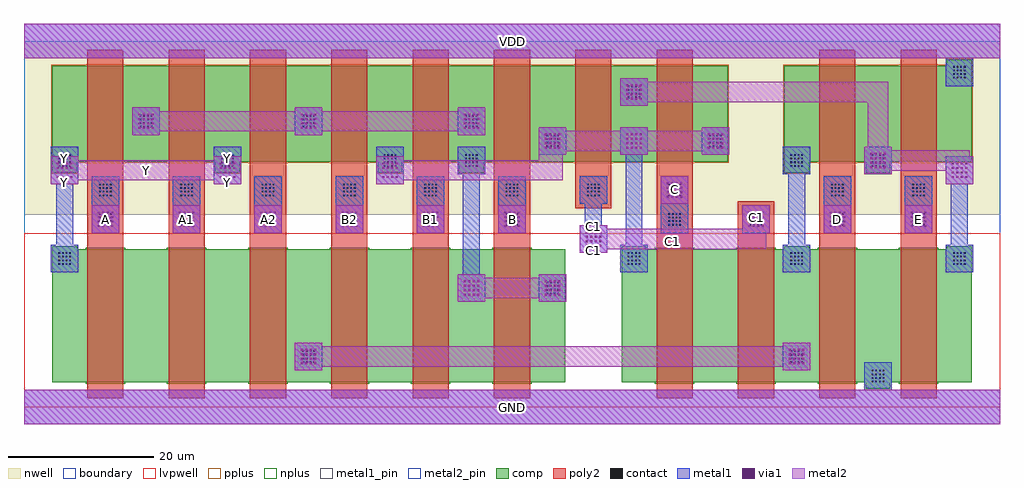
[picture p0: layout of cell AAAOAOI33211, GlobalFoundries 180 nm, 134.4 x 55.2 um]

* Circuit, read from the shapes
.subckt AAAOAOI33211 A A1 A2 B B1 B2 C C1 D E GND VDD Y
XM1 n1 A Y VSUBS nfet_03v3 w=18.3u l=5u
XM2 n2 A1 n1 VSUBS nfet_03v3 w=18.3u l=5u
XM3 n3 A2 n2 VSUBS nfet_03v3 w=18.3u l=5u
XM4 n4 B2 n3 VSUBS nfet_03v3 w=18.3u l=5u
XM5 n5 B1 n4 VSUBS nfet_03v3 w=18.3u l=5u
XM6 n6 B n5 VSUBS nfet_03v3 w=18.3u l=5u
XM7 n7 C n8 VSUBS nfet_03v3 w=18.3u l=5u
XM8 n3 C1 n7 VSUBS nfet_03v3 w=18.3u l=5u
XM9 GND D n3 VSUBS nfet_03v3 w=18.3u l=5u
XM10 n9 E GND VSUBS nfet_03v3 w=18.3u l=5u
XM11 n6 A Y n10 pfet_03v3 w=13.2u l=5u
XM12 Y A1 n6 n10 pfet_03v3 w=13.2u l=5u
XM13 n6 A2 Y n10 pfet_03v3 w=13.2u l=5u
XM14 n8 B2 n6 n10 pfet_03v3 w=13.2u l=5u
XM15 n6 B1 n8 n10 pfet_03v3 w=13.2u l=5u
XM16 n8 B n6 n10 pfet_03v3 w=13.2u l=5u
XM17 n9 C1 n8 n10 pfet_03v3 w=13.2u l=5u
XM18 n8 C n9 n10 pfet_03v3 w=13.2u l=5u
XM19 n9 D n3 n10 pfet_03v3 w=13.2u l=5u
XM20 VDD E n9 n10 pfet_03v3 w=13.2u l=5u
.ends

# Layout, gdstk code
import gdstk
lib = gdstk.Library(unit=1e-6, precision=1e-09)
def R(c, l, rs):  # rectangles x0, y0, x1, y1
    for r in rs: c.add(gdstk.rectangle(r[:2], r[2:], *l))
def A(c, l, x, y, w, h, nx, ny, dx, dy):  # array of equal rectangles
    R(c, l, [(x+i*dx, y+j*dy, x+i*dx+w, y+j*dy+h) for i in range(nx) for j in range(ny)])
boundary = (0, 0)
nwell = (21, 0)
comp = (22, 0)
poly2 = (30, 0)
pplus = (31, 0)
nplus = (32, 0)
contact = (33, 0)
metal1 = (34, 0)
metal1_pin = (34, 10)
via1 = (35, 0)
metal2 = (36, 0)
metal2_pin = (36, 10)
lvpwell = (204, 0)

aaaoaoi33211 = lib.new_cell('AAAOAOI33211')
R(aaaoaoi33211, boundary, [(0,0,134.4,50.4)])
R(aaaoaoi33211, nwell, [(0,26.45,134.4,50.4)])
A(aaaoaoi33211, comp, 82.3, 21.7, 3.4, 0.45, 3, 1, 22.4, 0)
A(aaaoaoi33211, comp, 3.9, 32.25, 3.4, 1.55, 3, 1, 22.4, 0)
R(aaaoaoi33211, comp, [(115.9,2.55,119.3,3.4), (3.9,3.4,74.5,21.7), (82.3,3.4,130.5,21.7), (3.9,21.7,7.3,22.15), (59.9,32.25,63.3,33.8), (104.7,32.25,108.1,33.8), (115.9,32.25,119.3,33.8), (3.9,33.8,96.9,47), (104.7,33.8,130.5,47), (127.1,47,130.5,47.8)])
A(aaaoaoi33211, poly2, 8.7, 1.2, 5, 48, 6, 1, 11.2, 0)
R(aaaoaoi33211, poly2, [(87.1,1.2,92.1,49.2), (98.3,1.2,103.3,28.35), (109.5,1.2,114.5,49.2), (120.7,1.2,125.7,49.2), (75.9,27.4,80.9,49.2)])
A(aaaoaoi33211, pplus, 3.74, 32.09, 3.72, 1.55, 3, 1, 22.4, 0)
A(aaaoaoi33211, pplus, 8.47, 33.57, 5.46, 0.07, 8, 2, 11.2, 13.59)
R(aaaoaoi33211, pplus, [(59.74,32.09,63.46,33.64), (104.54,32.09,108.26,33.64), (115.74,32.09,119.46,33.64), (109.27,33.57,114.73,33.64), (120.47,33.57,125.93,33.64), (3.74,33.64,97.06,47.16), (104.54,33.64,130.66,47.16), (109.27,47.16,114.73,47.23), (120.47,47.16,125.93,47.23), (126.94,47.16,130.66,47.96)])
A(aaaoaoi33211, nplus, 8.47, 3.17, 5.46, 0.21, 6, 2, 11.2, 18.55)
A(aaaoaoi33211, nplus, 86.87, 3.17, 5.46, 0.21, 4, 2, 11.2, 18.55)
A(aaaoaoi33211, nplus, 82.28, 21.72, 3.44, 0.45, 3, 1, 22.4, 0)
R(aaaoaoi33211, nplus, [(115.88,2.53,119.32,3.38), (3.88,3.38,74.52,21.72), (82.28,3.38,130.52,21.72), (3.88,21.72,7.32,22.17)])
A(aaaoaoi33211, contact, 116.74, 3.39, 0.22, 0.22, 4, 4, 0.5, 0.5)
A(aaaoaoi33211, contact, 38.34, 6.09, 0.22, 0.22, 4, 4, 0.5, 0.5)
A(aaaoaoi33211, contact, 105.54, 6.09, 0.22, 0.22, 4, 4, 0.5, 0.5)
A(aaaoaoi33211, contact, 71.94, 15.54, 0.22, 0.22, 4, 4, 0.5, 0.5)
A(aaaoaoi33211, contact, 4.74, 19.59, 0.22, 0.22, 4, 4, 0.5, 0.5)
A(aaaoaoi33211, contact, 83.14, 19.59, 0.22, 0.22, 4, 4, 0.5, 0.5)
A(aaaoaoi33211, contact, 105.54, 19.59, 0.22, 0.22, 4, 4, 0.5, 0.5)
A(aaaoaoi33211, contact, 127.94, 19.59, 0.22, 0.22, 4, 4, 0.5, 0.5)
A(aaaoaoi33211, contact, 10.34, 24.99, 0.22, 0.22, 4, 4, 0.5, 0.5)
A(aaaoaoi33211, contact, 21.54, 24.99, 0.22, 0.22, 4, 4, 0.5, 0.5)
A(aaaoaoi33211, contact, 32.74, 24.99, 0.22, 0.22, 4, 4, 0.5, 0.5)
A(aaaoaoi33211, contact, 43.94, 24.99, 0.22, 0.22, 4, 4, 0.5, 0.5)
A(aaaoaoi33211, contact, 55.14, 24.99, 0.22, 0.22, 4, 4, 0.5, 0.5)
A(aaaoaoi33211, contact, 66.34, 24.99, 0.22, 0.22, 4, 4, 0.5, 0.5)
A(aaaoaoi33211, contact, 88.74, 24.99, 0.22, 0.22, 4, 4, 0.5, 0.5)
A(aaaoaoi33211, contact, 99.94, 24.99, 0.22, 0.22, 4, 4, 0.5, 0.5)
A(aaaoaoi33211, contact, 111.14, 24.99, 0.22, 0.22, 4, 4, 0.5, 0.5)
A(aaaoaoi33211, contact, 122.34, 24.99, 0.22, 0.22, 4, 4, 0.5, 0.5)
A(aaaoaoi33211, contact, 10.34, 29.04, 0.22, 0.22, 4, 4, 0.5, 0.5)
A(aaaoaoi33211, contact, 21.54, 29.04, 0.22, 0.22, 4, 4, 0.5, 0.5)
A(aaaoaoi33211, contact, 32.74, 29.04, 0.22, 0.22, 4, 4, 0.5, 0.5)
A(aaaoaoi33211, contact, 43.94, 29.04, 0.22, 0.22, 4, 4, 0.5, 0.5)
A(aaaoaoi33211, contact, 55.14, 29.04, 0.22, 0.22, 4, 4, 0.5, 0.5)
A(aaaoaoi33211, contact, 66.34, 29.04, 0.22, 0.22, 4, 4, 0.5, 0.5)
A(aaaoaoi33211, contact, 77.54, 29.04, 0.22, 0.22, 4, 4, 0.5, 0.5)
A(aaaoaoi33211, contact, 88.74, 29.04, 0.22, 0.22, 4, 4, 0.5, 0.5)
A(aaaoaoi33211, contact, 111.14, 29.04, 0.22, 0.22, 4, 4, 0.5, 0.5)
A(aaaoaoi33211, contact, 122.34, 29.04, 0.22, 0.22, 4, 4, 0.5, 0.5)
A(aaaoaoi33211, contact, 4.74, 33.09, 0.22, 0.22, 4, 4, 0.5, 0.5)
A(aaaoaoi33211, contact, 27.14, 33.09, 0.22, 0.22, 4, 4, 0.5, 0.5)
A(aaaoaoi33211, contact, 49.54, 33.09, 0.22, 0.22, 4, 4, 0.5, 0.5)
A(aaaoaoi33211, contact, 60.74, 33.09, 0.22, 0.22, 4, 4, 0.5, 0.5)
A(aaaoaoi33211, contact, 105.54, 33.09, 0.22, 0.22, 4, 4, 0.5, 0.5)
A(aaaoaoi33211, contact, 116.74, 33.09, 0.22, 0.22, 4, 4, 0.5, 0.5)
A(aaaoaoi33211, contact, 71.94, 35.79, 0.22, 0.22, 4, 4, 0.5, 0.5)
A(aaaoaoi33211, contact, 94.34, 35.79, 0.22, 0.22, 4, 4, 0.5, 0.5)
A(aaaoaoi33211, contact, 15.94, 38.49, 0.22, 0.22, 4, 4, 0.5, 0.5)
A(aaaoaoi33211, contact, 38.34, 38.49, 0.22, 0.22, 4, 4, 0.5, 0.5)
A(aaaoaoi33211, contact, 60.74, 38.49, 0.22, 0.22, 4, 4, 0.5, 0.5)
A(aaaoaoi33211, contact, 83.14, 42.54, 0.22, 0.22, 4, 4, 0.5, 0.5)
A(aaaoaoi33211, contact, 127.94, 45.24, 0.22, 0.22, 4, 4, 0.5, 0.5)
A(aaaoaoi33211, metal1, 82.1, 18.55, 3.8, 3.8, 3, 1, 22.4, 0)
A(aaaoaoi33211, metal1, 9.3, 23.95, 3.8, 7.85, 6, 1, 11.2, 0)
A(aaaoaoi33211, metal1, 3.7, 30.7, 3.8, 5.15, 3, 1, 22.4, 0)
A(aaaoaoi33211, metal1, 70.9, 34.75, 3.8, 3.8, 3, 1, 11.2, 0)
A(aaaoaoi33211, metal1, 14.9, 37.45, 3.8, 3.8, 3, 1, 22.4, 0)
R(aaaoaoi33211, metal1, [(0,-2.4,134.4,2.4), (115.7,2.4,119.5,6.15), (37.3,5.05,41.1,8.85), (104.5,5.05,108.3,8.85), (59.7,14.5,63.5,18.3), (70.9,14.5,74.7,18.3), (60.45,18.3,62.75,32.05), (3.7,18.55,7.5,22.35), (76.5,21.25,80.3,25.05), (4.45,22.35,6.75,30.7), (82.85,22.35,85.15,34.75), (105.25,22.35,107.55,32.05), (127.65,22.35,129.95,30.7), (87.7,23.95,91.5,31.8), (98.9,23.95,102.7,27.75), (110.1,23.95,113.9,31.8), (121.3,23.95,125.1,31.8), (77.25,25.05,79.55,28), (76.5,28,80.3,31.8), (126.9,30.7,130.7,34.5), (59.7,32.05,63.5,35.85), (104.5,32.05,108.3,35.85), (115.7,32.05,119.5,35.85), (82.1,41.5,85.9,45.3), (126.9,44.2,130.7,48), (0,48,134.4,52.8)])
R(aaaoaoi33211, metal1_pin, [(0,-2.4,134.4,2.4), (0,48,134.4,52.8)])
A(aaaoaoi33211, via1, 38.14, 5.89, 0.26, 0.26, 4, 4, 0.62, 0.62)
A(aaaoaoi33211, via1, 105.34, 5.89, 0.26, 0.26, 4, 4, 0.62, 0.62)
A(aaaoaoi33211, via1, 60.54, 15.34, 0.26, 0.26, 4, 4, 0.62, 0.62)
A(aaaoaoi33211, via1, 71.74, 15.34, 0.26, 0.26, 4, 4, 0.62, 0.62)
A(aaaoaoi33211, via1, 77.34, 22.09, 0.26, 0.26, 4, 4, 0.62, 0.62)
A(aaaoaoi33211, via1, 10.14, 24.79, 0.26, 0.26, 4, 4, 0.62, 0.62)
A(aaaoaoi33211, via1, 21.34, 24.79, 0.26, 0.26, 4, 4, 0.62, 0.62)
A(aaaoaoi33211, via1, 32.54, 24.79, 0.26, 0.26, 4, 4, 0.62, 0.62)
A(aaaoaoi33211, via1, 43.74, 24.79, 0.26, 0.26, 4, 4, 0.62, 0.62)
A(aaaoaoi33211, via1, 54.94, 24.79, 0.26, 0.26, 4, 4, 0.62, 0.62)
A(aaaoaoi33211, via1, 66.14, 24.79, 0.26, 0.26, 4, 4, 0.62, 0.62)
A(aaaoaoi33211, via1, 99.74, 24.79, 0.26, 0.26, 4, 4, 0.62, 0.62)
A(aaaoaoi33211, via1, 110.94, 24.79, 0.26, 0.26, 4, 4, 0.62, 0.62)
A(aaaoaoi33211, via1, 122.14, 24.79, 0.26, 0.26, 4, 4, 0.62, 0.62)
A(aaaoaoi33211, via1, 88.54, 28.84, 0.26, 0.26, 4, 4, 0.62, 0.62)
A(aaaoaoi33211, via1, 4.54, 31.54, 0.26, 0.26, 4, 4, 0.62, 0.62)
A(aaaoaoi33211, via1, 26.94, 31.54, 0.26, 0.26, 4, 4, 0.62, 0.62)
A(aaaoaoi33211, via1, 49.34, 31.54, 0.26, 0.26, 4, 4, 0.62, 0.62)
A(aaaoaoi33211, via1, 127.74, 31.54, 0.26, 0.26, 4, 4, 0.62, 0.62)
A(aaaoaoi33211, via1, 116.54, 32.89, 0.26, 0.26, 4, 4, 0.62, 0.62)
A(aaaoaoi33211, via1, 71.74, 35.59, 0.26, 0.26, 4, 4, 0.62, 0.62)
A(aaaoaoi33211, via1, 82.94, 35.59, 0.26, 0.26, 4, 4, 0.62, 0.62)
A(aaaoaoi33211, via1, 94.14, 35.59, 0.26, 0.26, 4, 4, 0.62, 0.62)
A(aaaoaoi33211, via1, 15.74, 38.29, 0.26, 0.26, 4, 4, 0.62, 0.62)
A(aaaoaoi33211, via1, 38.14, 38.29, 0.26, 0.26, 4, 4, 0.62, 0.62)
A(aaaoaoi33211, via1, 60.54, 38.29, 0.26, 0.26, 4, 4, 0.62, 0.62)
A(aaaoaoi33211, via1, 82.94, 42.34, 0.26, 0.26, 4, 4, 0.62, 0.62)
A(aaaoaoi33211, metal2, 9.3, 23.95, 3.8, 3.8, 6, 1, 11.2, 0)
A(aaaoaoi33211, metal2, 3.7, 30.7, 3.8, 0.5, 3, 2, 22.4, 3.3)
A(aaaoaoi33211, metal2, 70.9, 34.75, 3.8, 0.5, 3, 2, 11.2, 3.3)
A(aaaoaoi33211, metal2, 14.9, 37.45, 3.8, 0.5, 3, 2, 22.4, 3.3)
R(aaaoaoi33211, metal2, [(0,-2.4,134.4,2.4), (37.3,5.05,41.1,5.55), (104.5,5.05,108.3,5.55), (37.3,5.55,108.3,8.35), (37.3,8.35,41.1,8.85), (104.5,8.35,108.3,8.85), (59.7,14.5,63.5,15), (70.9,14.5,74.7,15), (59.7,15,74.7,17.8), (59.7,17.8,63.5,18.3), (70.9,17.8,74.7,18.3), (76.5,21.25,80.3,21.75), (76.5,21.75,102.2,23.95), (76.5,23.95,102.7,24.55), (110.1,23.95,113.9,27.75), (121.3,23.95,125.1,27.75), (76.5,24.55,80.3,25.05), (98.9,24.55,102.7,27.75), (87.7,28,91.5,31.8), (126.9,30.7,130.7,32.55), (3.7,31.2,29.9,34), (48.5,31.2,74.2,34), (115.7,32.05,119.5,32.55), (115.7,32.55,130.7,34.5), (70.9,34,74.2,34.75), (115.7,34.5,130.2,35.35), (70.9,35.25,97.1,38.05), (115.7,35.35,119.5,35.85), (116.2,35.85,119,42), (14.9,37.95,63.5,40.75), (82.1,41.5,85.9,42), (82.1,42,119,44.8), (82.1,44.8,85.9,45.3), (0,48,134.4,52.8)])
A(aaaoaoi33211, metal2_pin, 9.3, 23.95, 3.8, 3.8, 6, 1, 11.2, 0)
R(aaaoaoi33211, metal2_pin, [(76.5,21.25,80.3,21.75), (76.5,21.75,102.2,23.95), (76.5,23.95,102.7,24.55), (110.1,23.95,113.9,27.75), (121.3,23.95,125.1,27.75), (76.5,24.55,80.3,25.05), (98.9,24.55,102.7,27.75), (87.7,28,91.5,31.8), (3.7,30.7,7.5,31.2), (26.1,30.7,29.9,31.2), (3.7,31.2,29.9,34), (3.7,34,7.5,34.5), (26.1,34,29.9,34.5)])
R(aaaoaoi33211, lvpwell, [(0,0,134.4,23.95)])
aaaoaoi33211.add(gdstk.Label('VDD', (67.2,50.4), layer=34, texttype=10))
aaaoaoi33211.add(gdstk.Label('GND', (67.2,0), layer=34, texttype=10))
aaaoaoi33211.add(gdstk.Label('Y', (5.6,30.95), layer=36, texttype=10))
aaaoaoi33211.add(gdstk.Label('Y', (28,30.95), layer=36, texttype=10))
aaaoaoi33211.add(gdstk.Label('Y', (16.8,32.6), layer=36, texttype=10))
aaaoaoi33211.add(gdstk.Label('Y', (5.6,34.25), layer=36, texttype=10))
aaaoaoi33211.add(gdstk.Label('Y', (28,34.25), layer=36, texttype=10))
aaaoaoi33211.add(gdstk.Label('A2', (33.6,25.85), layer=36, texttype=10))
aaaoaoi33211.add(gdstk.Label('C1', (78.4,21.5), layer=36, texttype=10))
aaaoaoi33211.add(gdstk.Label('C1', (89.35,22.85), layer=36, texttype=10))
aaaoaoi33211.add(gdstk.Label('C1', (89.6,24.25), layer=36, texttype=10))
aaaoaoi33211.add(gdstk.Label('C1', (78.4,24.8), layer=36, texttype=10))
aaaoaoi33211.add(gdstk.Label('C1', (100.8,26.15), layer=36, texttype=10))
aaaoaoi33211.add(gdstk.Label('A', (11.2,25.85), layer=36, texttype=10))
aaaoaoi33211.add(gdstk.Label('B2', (44.8,25.85), layer=36, texttype=10))
aaaoaoi33211.add(gdstk.Label('C', (89.6,29.9), layer=36, texttype=10))
aaaoaoi33211.add(gdstk.Label('E', (123.2,25.85), layer=36, texttype=10))
aaaoaoi33211.add(gdstk.Label('B1', (56,25.85), layer=36, texttype=10))
aaaoaoi33211.add(gdstk.Label('D', (112,25.85), layer=36, texttype=10))
aaaoaoi33211.add(gdstk.Label('A1', (22.4,25.85), layer=36, texttype=10))
aaaoaoi33211.add(gdstk.Label('B', (67.2,25.85), layer=36, texttype=10))

lib.write_gds('AAAOAOI33211.gds')
